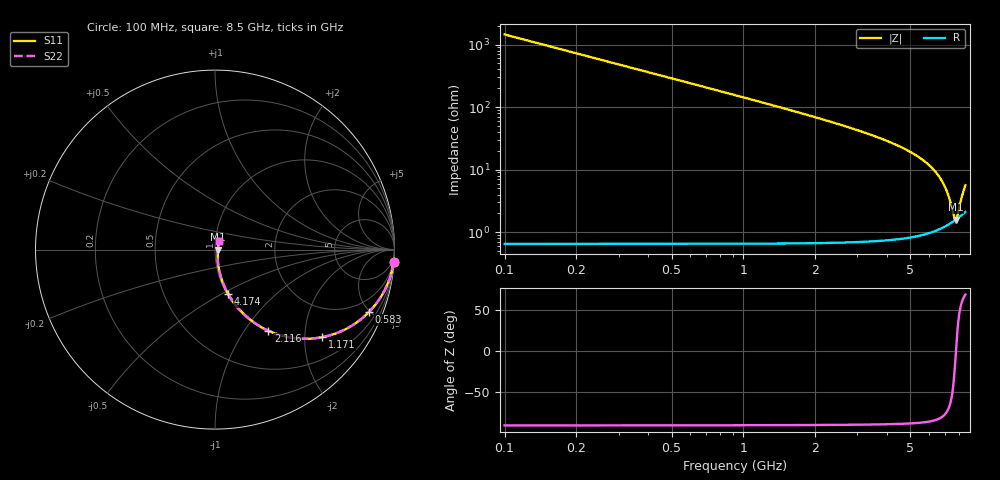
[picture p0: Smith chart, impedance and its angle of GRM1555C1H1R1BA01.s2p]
!Murata Part Number: GRM1555C1H1R1BA01
!These Parameters are Measured in Series Mode Connection
!Data Generated on Mar 30, 2021
!  o--ll--o
!Port1  Port2
!  o------o
!Operation Temp=25[degC], DC Bias Voltage=0[V]
!Freq. Start=100[MHz] Stop=9[GHz] 401[Steps]
# Hz S RI R 50
!Freq.(Hz) S11(Real) S11(Imag) S21(Real) S21(Imag) S12(Real) S12(Imag) S22(Real) S22(Imag)
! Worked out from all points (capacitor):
!   401 points, 100 MHz to 8.5 GHz, reference 50 ohm
!   read as one part in series: C = 1.1 pF near 142 MHz
!   lowest |Z| = 1.59 ohm at 7.744 GHz (marker M1)
!   series resonance near 7.76 GHz, so ESL is about 380 pH
!   S11 on the Smith chart (normalised r, x): 100 MHz: 1, -29; 583 MHz: 1.01, -4.94; 1.171 GHz: 1.01, -2.43; 2.116 GHz: 1.01, -1.29; 4.174 GHz: 1.02, -0.54; 8.5 GHz: 1.04, +0.10
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1e8  0.9952 -0.0688  0.00479 0.0688  0.00479 0.0688  0.9952 -0.0688
2.05e8  0.9802 -0.1389  0.0198 0.1389  0.0198 0.1389  0.9802 -0.1389
2.89e8  0.9613 -0.1922  0.0387 0.1922  0.0387 0.1922  0.9613 -0.1922
4.15e8  0.9233 -0.2652  0.0767 0.2652  0.0767 0.2652  0.9233 -0.2652
5.83e8  0.8587 -0.347  0.1413 0.347  0.1413 0.347  0.8587 -0.347
8.35e8  0.7462 -0.4333  0.2538 0.4333  0.2538 0.4333  0.7462 -0.4333
1.171e9  0.5957 -0.4881  0.4043 0.4881  0.4043 0.4881  0.5957 -0.4881
1.507e9  0.4659 -0.4953  0.5341 0.4953  0.5341 0.4953  0.4659 -0.4953
2.116e9  0.2965 -0.4515  0.7035 0.4515  0.7035 0.4515  0.2965 -0.4515
2.914e9  0.1684 -0.3665  0.8316 0.3665  0.8316 0.3665  0.1684 -0.3665
4.174e9  0.0731 -0.2466  0.9269 0.2466  0.9269 0.2466  0.0731 -0.2466
4.3e9  0.0673 -0.2361  0.9327 0.2361  0.9327 0.2361  0.0673 -0.2361
5.707e9  0.0272 -0.1326  0.9728 0.1326  0.9728 0.1326  0.0272 -0.1326
6.526e9  0.0172 -0.0792  0.9828 0.0792  0.9828 0.0792  0.0172 -0.0792
6.841e9  0.0152 -0.0591  0.9848 0.0591  0.9848 0.0591  0.0152 -0.0591
7.114e9  0.0144 -0.0417  0.9856 0.0417  0.9856 0.0417  0.0144 -0.0417
7.324e9  0.0143 -0.0282  0.9857 0.0282  0.9857 0.0282  0.0143 -0.0282
7.618e9  0.015 -0.00924  0.985 0.00924  0.985 0.00924  0.015 -0.00924
7.744e9  0.0156 -0.00102  0.9844 0.00102  0.9844 0.00102  0.0156 -0.00102
7.849e9  0.0162 0.00588  0.9838 -0.00588  0.9838 -0.00588  0.0162 0.00588
8.206e9  0.0194 0.0297  0.9806 -0.0297  0.9806 -0.0297  0.0194 0.0297
8.5e9  0.0232 0.05  0.9768 -0.05  0.9768 -0.05  0.0232 0.05
